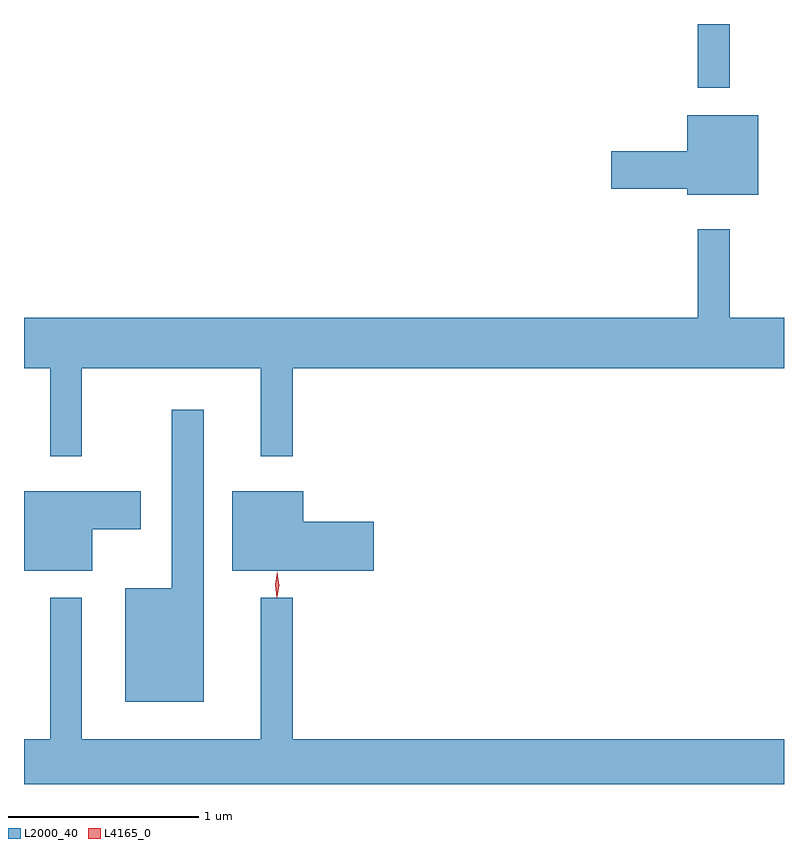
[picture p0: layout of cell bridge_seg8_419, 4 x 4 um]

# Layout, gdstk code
import gdstk
lib = gdstk.Library(unit=1e-6, precision=1e-09)
def R(c, l, rs):  # rectangles x0, y0, x1, y1
    for r in rs: c.add(gdstk.rectangle(r[:2], r[2:], *l))
def P(c, l, *ps):  # polygons
    for p in ps: c.add(gdstk.Polygon(p, *l))
L2000_40 = (2000, 40)
L4165_0 = (4165, 0)

bridge_seg8_419 = lib.new_cell('bridge_seg8_419')
R(bridge_seg8_419, L2000_40, [(925.381,1860.093,925.549,1860.429)])
P(bridge_seg8_419, L2000_40, [(925.699,1859.949),(925.326,1859.949),(925.326,1859.759),(924.926,1859.759),(924.926,1859.561),(925.326,1859.561),(925.326,1859.531),(925.699,1859.531)],
  [(922.139,1858.616),(923.081,1858.616),(923.081,1858.153),(923.249,1858.153),(923.249,1858.616),(925.834,1858.616),(925.834,1858.884),(925.549,1858.884),(925.549,1859.348),(925.381,1859.348),(925.381,1858.884),(921.834,1858.884),(921.834,1858.616),(921.971,1858.616),(921.971,1858.153),(922.139,1858.153)],
  [(922.779,1858.398),(922.611,1858.398),(922.611,1857.459),(922.366,1857.459),(922.366,1856.861),(922.779,1856.861)],
  [(922.194,1857.771),(922.449,1857.771),(922.449,1857.969),(921.834,1857.969),(921.834,1857.551),(922.194,1857.551)],
  [(923.674,1857.809),(923.304,1857.809),(923.304,1857.969),(922.931,1857.969),(922.931,1857.551),(923.674,1857.551)],
  [(925.834,1856.664),(923.249,1856.664),(923.249,1857.408),(923.081,1857.408),(923.081,1856.664),(922.139,1856.664),(922.139,1857.408),(921.971,1857.408),(921.971,1856.664),(921.834,1856.664),(921.834,1856.429),(925.834,1856.429)])
P(bridge_seg8_419, L4165_0, [(923.164,1857.41),(923.156,1857.478),(923.166,1857.545),(923.166,1857.546),(923.167,1857.545),(923.176,1857.478),(923.166,1857.41),(923.165,1857.41)],
  [(923.167,1857.413),(923.166,1857.414),(923.157,1857.476),(923.166,1857.539),(923.167,1857.54),(923.167,1857.539),(923.177,1857.476),(923.167,1857.414)])

lib.write_gds('bridge_seg8_419.gds')
